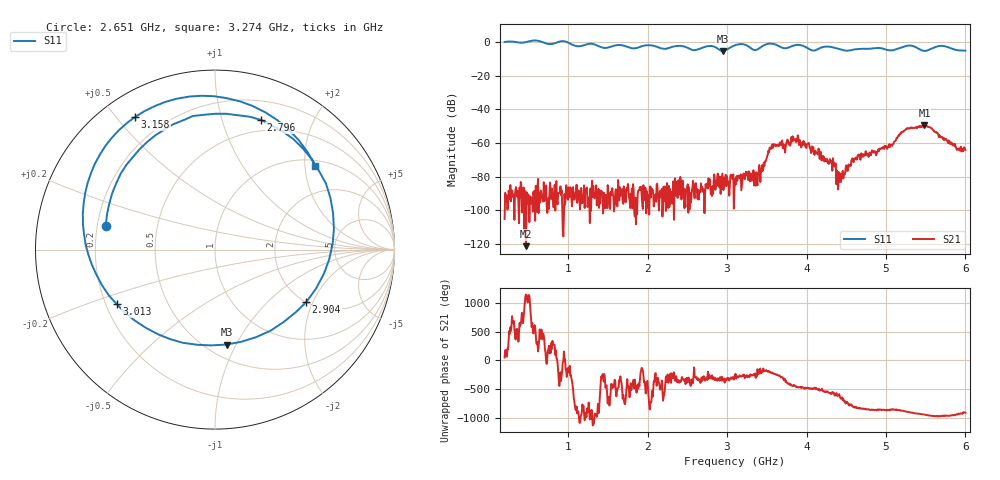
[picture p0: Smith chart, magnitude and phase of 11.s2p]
! NanoVNA-App
! Date: 2024-06-25 16:11:01
! Start: 200MHz Stop: 6GHz Points: 801
! S-Parameter data: F S11 S21 S12 S22
# Hz S RI R 50
!  Frequency  S11_Real  S11_Imag  S21_Real  S21_Imag  S12_Real  S12_Imag  S22_Real  S22_Imag
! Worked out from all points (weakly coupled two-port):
!   801 points, 200 MHz to 6 GHz, reference 50 ohm
!   highest |S21| = -49.28 dB at 5.485 GHz (marker M1); lowest = -121.4 dB at 468.2 MHz (marker M2)
!   lowest |S11| = -5.5 dB at 2.948 GHz (marker M3), VSWR 3.28, Z = 31 - j45.8 ohm
!   |S11| at or under -10 dB: nowhere
!   S12 and S22 are empty: the file has one direction only
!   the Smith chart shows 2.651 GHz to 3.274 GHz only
!   S11 on the Smith chart (normalised r, x): 2.651 GHz: 0.23, +0.10; 2.796 GHz: 0.38, +1.34; 2.904 GHz: 2.00, -1.79; 3.013 GHz: 0.24, -0.24; 3.158 GHz: 0.10, +0.56; 3.274 GHz: 1.13, +2.26
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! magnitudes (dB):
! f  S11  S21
! 200 MHz  0.0  -105.2
! 468.2 MHz  0.0  -121.4
! 1.171 GHz  -2.3  -95.9
! 2.136 GHz  -3.1  -93.7
! 2.651 GHz  -4.1  -88.4
! 2.796 GHz  -2.3  -90.5
! 2.904 GHz  -4.6  -86.4
! 2.948 GHz  -5.5  -83.0
! 3.013 GHz  -4.1  -84.4
! 3.1 GHz  -1.9  -81.5
! 3.158 GHz  -1.3  -81.0
! 3.274 GHz  -2.7  -76.9
! 3.405 GHz  -3.8  -73.1
! 3.593 GHz  -1.2  -61.4
! 3.861 GHz  -1.8  -57.7
! 4.072 GHz  -5.0  -62.1
! 4.42 GHz  -4.3  -78.0
! 4.63 GHz  -4.3  -69.9
! 5.036 GHz  -4.9  -62.4
! 5.253 GHz  -2.4  -51.7
! 5.485 GHz  -5.3  -49.3
! 6 GHz  -5.1  -64.1
